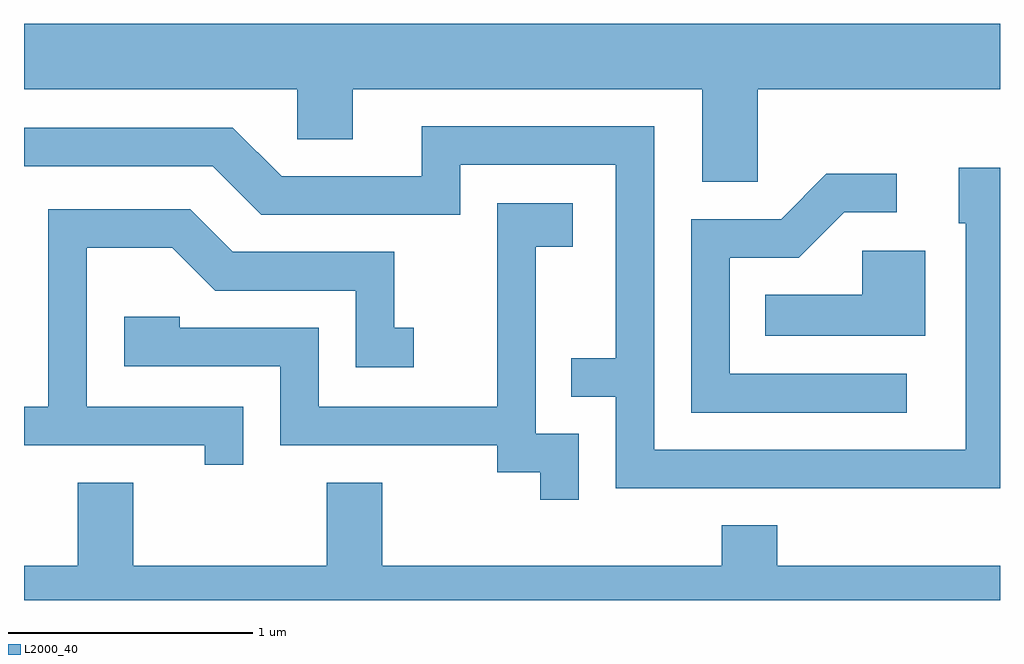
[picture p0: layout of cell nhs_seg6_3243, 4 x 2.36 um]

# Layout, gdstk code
import gdstk
lib = gdstk.Library(unit=1e-6, precision=1e-09)
def P(c, l, *ps):  # polygons
    for p in ps: c.add(gdstk.Polygon(p, *l))
L2000_40 = (2000, 40)

nhs_seg6_3243 = lib.new_cell('nhs_seg6_3243')
P(nhs_seg6_3243, L2000_40, [(286.619,1552.256),(287.611,1552.256),(287.611,1552.524),(283.611,1552.524),(283.611,1552.256),(284.731,1552.256),(284.731,1552.051),(284.959,1552.051),(284.959,1552.256),(286.391,1552.256),(286.391,1551.876),(286.619,1551.876)],
  [(287.611,1551.934),(287.441,1551.934),(287.441,1551.706),(287.471,1551.706),(287.471,1550.779),(286.194,1550.779),(286.194,1552.104),(285.241,1552.104),(285.241,1551.899),(284.667,1551.899),(284.467,1552.099),(283.611,1552.099),(283.611,1551.941),(284.384,1551.941),(284.584,1551.741),(285.399,1551.741),(285.399,1551.946),(286.036,1551.946),(286.036,1551.154),(285.853,1551.154),(285.853,1550.996),(286.036,1550.996),(286.036,1550.621),(287.611,1550.621)],
  [(287.228,1551.089),(286.504,1551.089),(286.504,1551.566),(286.787,1551.566),(286.972,1551.751),(287.188,1551.751),(287.188,1551.909),(286.899,1551.909),(286.714,1551.724),(286.346,1551.724),(286.346,1550.931),(287.228,1550.931)],
  [(285.884,1550.844),(285.709,1550.844),(285.709,1551.611),(285.859,1551.611),(285.859,1551.789),(285.551,1551.789),(285.551,1550.954),(284.819,1550.954),(284.819,1551.279),(284.249,1551.279),(284.249,1551.324),(284.021,1551.324),(284.021,1551.121),(284.661,1551.121),(284.661,1550.796),(285.551,1550.796),(285.551,1550.686),(285.726,1550.686),(285.726,1550.573),(285.884,1550.573)],
  [(284.509,1550.954),(283.869,1550.954),(283.869,1551.606),(284.219,1551.606),(284.394,1551.431),(284.971,1551.431),(284.971,1551.116),(285.208,1551.116),(285.208,1551.279),(285.129,1551.279),(285.129,1551.589),(284.467,1551.589),(284.292,1551.764),(283.711,1551.764),(283.711,1550.954),(283.611,1550.954),(283.611,1550.796),(284.351,1550.796),(284.351,1550.718),(284.509,1550.718)],
  [(287.304,1551.594),(287.046,1551.594),(287.046,1551.414),(286.648,1551.414),(286.648,1551.246),(287.304,1551.246)],
  [(287.611,1550.304),(286.699,1550.304),(286.699,1550.469),(286.471,1550.469),(286.471,1550.304),(285.079,1550.304),(285.079,1550.644),(284.851,1550.644),(284.851,1550.304),(284.059,1550.304),(284.059,1550.644),(283.831,1550.644),(283.831,1550.304),(283.611,1550.304),(283.611,1550.162),(287.611,1550.162)])

lib.write_gds('nhs_seg6_3243.gds')
